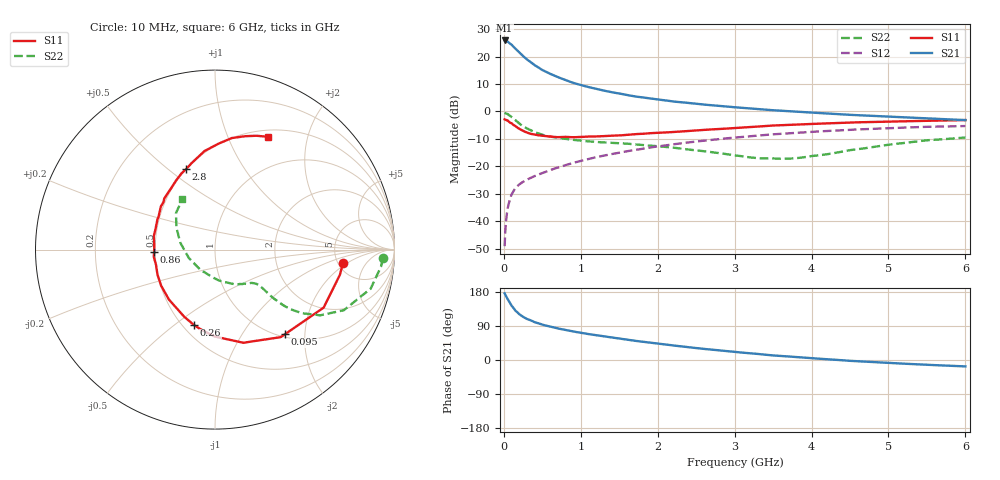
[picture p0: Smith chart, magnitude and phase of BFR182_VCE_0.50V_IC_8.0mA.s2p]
! Infineon Technologies  Discrete & RF Semiconductors
! BFR182
! VCE = 0.50 V,  IC =  8.0 mA
! Common Emitter S-Parameters:  Nov 2015
# GHz  S  MA  R  50
!  f  S11  S21  S12  S22
! GHz  MAG  ANG  MAG  ANG  MAG  ANG  MAG  ANG
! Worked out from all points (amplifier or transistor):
!   210 points, 10 MHz to 6 GHz, reference 50 ohm
!   highest |S21| = 25.9 dB at 10 MHz (marker M1)
!   |S21| within 3 dB of that: start of sweep to 151.5 MHz
!   unconditionally stable (mu >= 1): 559.2 MHz to end of sweep
!   at 185 MHz: K = 0.52, MSG = 24.5 dB, |S12| = -27.0 dB
!   at 1.52 GHz: K = 1.17, MAG = 8.2 dB, |S12| = -14.9 dB
!   at 6 GHz: K = 1.02, MAG = 0.2 dB, |S12| = -5.3 dB
!   S11 on the Smith chart (normalised r, x): 10 MHz: 5.52, -1.70; 95 MHz: 1.05, -1.59; 260 MHz: 0.57, -0.59; 860 MHz: 0.49, -0.02; 2.8 GHz: 0.50, +0.58; 6 GHz: 0.58, +1.41
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0.01  0.7167 -6.0  19.62 176.0  0.0035 87.4  0.9372 -3.0
0.025  0.702 -14.1  19.17 169.9  0.0087 81.1  0.9224 -7.2
0.05  0.6863 -28.1  18.77 160.1  0.0172 75.4  0.8941 -14.1
0.095  0.6117 -50.4  16.62 145.3  0.0292 67.4  0.8018 -24.0
0.1  0.6098 -53.1  16.46 143.5  0.0305 66.9  0.7932 -25.2
0.15  0.5425 -73.1  13.96 130.3  0.0401 60.5  0.6908 -32.0
0.2  0.4838 -90.4  11.89 120.9  0.0466 57.3  0.6005 -36.2
0.24  0.45 -100.6  10.5 115.3  0.0511 55.7  0.5464 -37.9
0.26  0.4364 -105.5  9.903 112.8  0.0531 55.5  0.5242 -38.5
0.3  0.4122 -114.4  8.863 108.4  0.0569 55.8  0.4891 -39.2
0.4  0.3786 -132.7  6.968 99.8  0.0662 55.7  0.4187 -39.8
0.5  0.3611 -146.3  5.674 93.1  0.0752 57.0  0.3733 -39.4
0.7  0.3394 -165.5  4.225 83.3  0.0947 58.9  0.3305 -39.0
0.86  0.3398 -177.7  3.475 76.9  0.1109 59.6  0.3082 -39.1
1.02  0.3433 171.7  2.967 71.1  0.1272 59.7  0.2911 -40.2
1.4  0.3615 153.2  2.238 59.6  0.1667 58.6  0.2668 -44.8
2.02  0.408 131.0  1.633 42.8  0.2323 54.1  0.2312 -56.7
2.8  0.4769 109.6  1.264 25.4  0.3142 45.9  0.1738 -82.5
3.1  0.5081 103.3  1.16 19.5  0.3428 42.1  0.1514 -97.3
4.1  0.5978 86.6  0.934 3.4  0.432 29.6  0.1585 -169.4
5.1  0.6576 74.1  0.791 -8.8  0.501 16.9  0.2558 147.4
6  0.6942 64.9  0.695 -16.9  0.5411 5.2  0.3348 122.8
